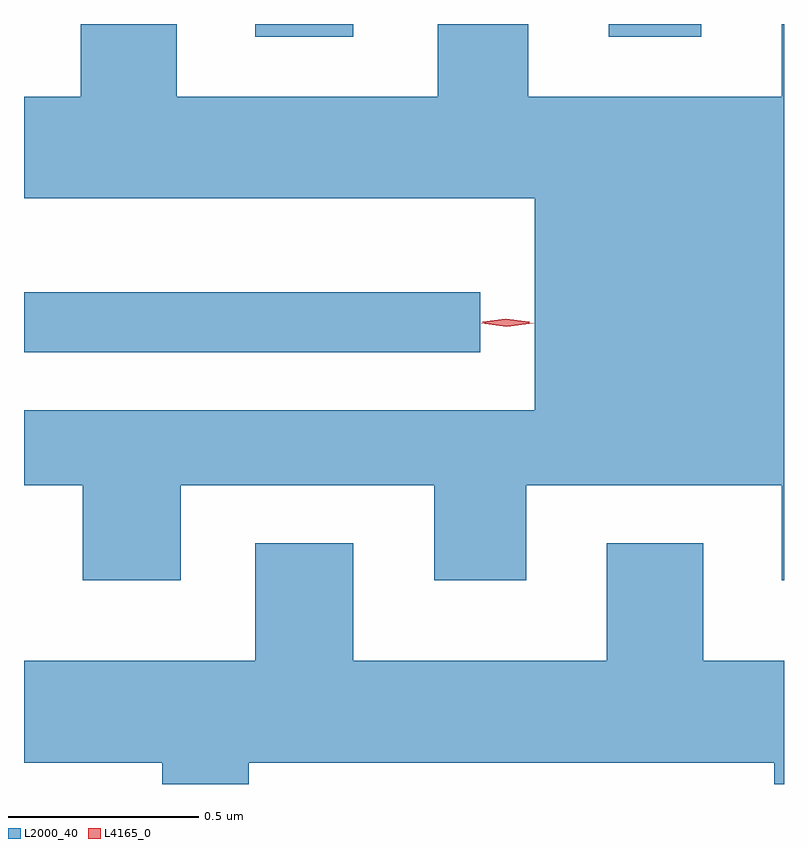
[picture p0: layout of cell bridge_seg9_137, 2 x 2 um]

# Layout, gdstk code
import gdstk
lib = gdstk.Library(unit=1e-6, precision=1e-09)
def R(c, l, rs):  # rectangles x0, y0, x1, y1
    for r in rs: c.add(gdstk.rectangle(r[:2], r[2:], *l))
def P(c, l, *ps):  # polygons
    for p in ps: c.add(gdstk.Polygon(p, *l))
L2000_40 = (2000, 40)
L4165_0 = (4165, 0)

bridge_seg9_137 = lib.new_cell('bridge_seg9_137')
R(bridge_seg9_137, L2000_40, [(1340.947,2046.176,1342.148,2046.334), (1341.556,2047.006,1341.814,2047.04), (1342.486,2047.006,1342.729,2047.04)])
P(bridge_seg9_137, L2000_40, [(1341.359,2045.826),(1342.026,2045.826),(1342.026,2045.576),(1342.269,2045.576),(1342.269,2045.826),(1342.941,2045.826),(1342.941,2045.576),(1342.947,2045.576),(1342.947,2047.04),(1342.941,2047.04),(1342.941,2046.849),(1342.274,2046.849),(1342.274,2047.04),(1342.036,2047.04),(1342.036,2046.849),(1341.349,2046.849),(1341.349,2047.04),(1341.096,2047.04),(1341.096,2046.849),(1340.947,2046.849),(1340.947,2046.581),(1342.291,2046.581),(1342.291,2046.024),(1340.947,2046.024),(1340.947,2045.826),(1341.101,2045.826),(1341.101,2045.576),(1341.359,2045.576)],
  [(1342.921,2045.04),(1342.947,2045.04),(1342.947,2045.364),(1342.734,2045.364),(1342.734,2045.674),(1342.481,2045.674),(1342.481,2045.364),(1341.814,2045.364),(1341.814,2045.674),(1341.556,2045.674),(1341.556,2045.364),(1340.947,2045.364),(1340.947,2045.096),(1341.311,2045.096),(1341.311,2045.04),(1341.539,2045.04),(1341.539,2045.096),(1342.921,2045.096)])
P(bridge_seg9_137, L4165_0, [(1342.218,2046.243),(1342.15,2046.252),(1342.149,2046.253),(1342.15,2046.253),(1342.218,2046.262),(1342.287,2046.253),(1342.288,2046.252),(1342.287,2046.252)],
  [(1342.215,2046.245),(1342.154,2046.255),(1342.153,2046.255),(1342.154,2046.256),(1342.215,2046.265),(1342.277,2046.256),(1342.278,2046.256),(1342.277,2046.255)])

lib.write_gds('bridge_seg9_137.gds')
